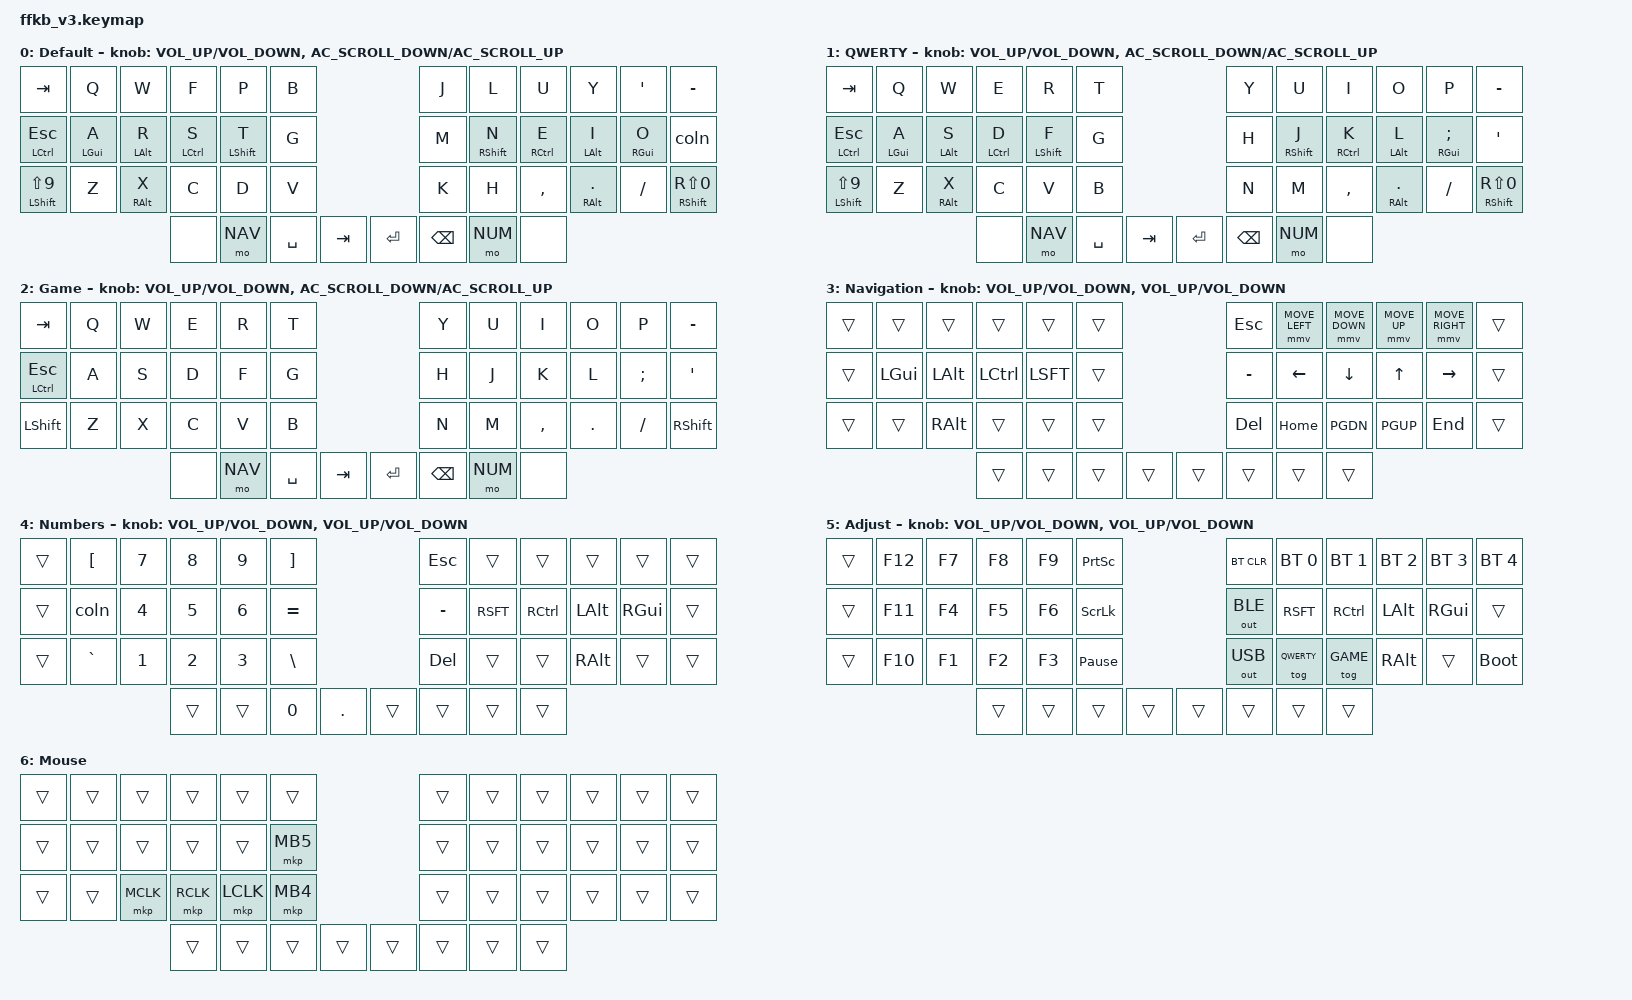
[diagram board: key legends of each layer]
#include <behaviors.dtsi>
#include <dt-bindings/zmk/keys.h>
#include <dt-bindings/zmk/rgb.h>
#include <dt-bindings/zmk/bt.h>
#include <dt-bindings/zmk/ext_power.h>
#include <dt-bindings/zmk/outputs.h>
#include <dt-bindings/zmk/pointing.h>

#define DEFAULT 0
#define QWERTY  1
#define GAME    2
#define NAV     3
#define NUM     4
#define ADJUST  5
#define MOUSE   6

#define LSPO &hm LSHFT LS(N9)
#define RSPC &hm RSHFT RS(N0)

&caps_word {
    continue-list = <UNDERSCORE MINUS BACKSPACE DELETE>;
};

/ {

    combos {
        compatible = "zmk,combos";
        combo_lbrc {
            timeout-ms = <50>;
            key-positions = <17 29>;
            bindings = <&kp LS(LBKT)>;
        };
        combo_rbrc {
            timeout-ms = <50>;
            key-positions = <18 30>;
            bindings = <&kp RS(RBKT)>;
        };
        combo_lbkt {
            timeout-ms = <50>;
            key-positions = <5 17>;
            bindings = <&kp LBKT>;
        };
        combo_rbkt {
            timeout-ms = <50>;
            key-positions = <6 18>;
            bindings = <&kp RBKT>;
        };
        combo_capsword {
            timeout-ms = <50>;
            key-positions = <17 18>;
            bindings = <&caps_word>;
        };
        combo_lpar {
            timeout-ms = <50>;
            key-positions = <16 17>;
            bindings = <&kp LS(N9)>;
        };
        combo_rpar {
            timeout-ms = <50>;
            key-positions = <18 19>;
            bindings = <&kp RS(N0)>;
        };
    };

    sensors {
        compatible = "zmk,keymap-sensors";
        sensors = <&encoder_1 &encoder_2>;
    };

    behaviors {
        hm: homerow_mods {
            compatible = "zmk,behavior-hold-tap";
            label = "HOMEROW_MODS";
            #binding-cells = <2>;
            tapping-term-ms = <200>;
            quick_tap_ms = <0>;
            flavor = "balanced";
            bindings = <&kp>, <&kp>;
        };
        hs: homerow_shift {
            compatible = "zmk,behavior-hold-tap";
            label = "HOMEROW_SHIFT";
            #binding-cells = <2>;
            tapping-term-ms = <175>;
            quick_tap_ms = <0>;
            flavor = "balanced";
            bindings = <&kp>, <&kp>;
        };
        coln: inverted_colon {
            compatible = "zmk,behavior-mod-morph";
            label = "COLON";
            #binding-cells = <0>;
            bindings = <&kp LS(SCLN)>, <&kp SCLN>;
            mods = <(MOD_LSFT|MOD_RSFT)>;
        };
    };

    conditional_layers {
        compatible = "zmk,conditional-layers";
        tri_layer {
            if-layers = <NAV NUM>;
            then-layer = <ADJUST>;
        };
    };

    keymap {
        compatible = "zmk,keymap";

        default_layer {
            label = "Default";

            sensor-bindings = <&inc_dec_kp C_VOLUME_UP C_VOLUME_DOWN &inc_dec_kp C_AC_SCROLL_DOWN C_AC_SCROLL_UP>;

            bindings = <
    &kp TAB       &kp Q        &kp W        &kp F       &kp P         &kp B                                       &kp J         &kp L        &kp U         &kp Y       &kp SQT     &kp MINUS
    &hm LCTL ESC  &hm LGUI A   &hm LALT R   &hm LCTL S  &hs LSHIFT T  &kp G                                       &kp M         &hs RSHIFT N &hm RCTL E    &hm LALT I  &hm RGUI O  &coln
    LSPO          &kp Z        &hm RALT X   &kp C       &kp D         &kp V                                       &kp K         &kp H        &kp COMMA     &hm RALT DOT &kp FSLH    RSPC
                                         &none       &mo NAV       &kp SPC  &kp TAB  &kp ENTER   &kp BSPC &mo NUM      &none
            >;
        };

        qwerty_layer {
            label = "QWERTY";

            sensor-bindings = <&inc_dec_kp C_VOLUME_UP C_VOLUME_DOWN &inc_dec_kp C_AC_SCROLL_DOWN C_AC_SCROLL_UP>;

            bindings = <
    &kp TAB       &kp Q        &kp W        &kp E       &kp R         &kp T                                       &kp Y         &kp U        &kp I         &kp O       &kp P       &kp MINUS
    &hm LCTL ESC  &hm LGUI A   &hm LALT S   &hm LCTL D  &hs LSHIFT F  &kp G                                       &kp H         &hs RSHIFT J &hm RCTL K    &hm LALT L  &hm RGUI SCLN &kp SQT
    LSPO          &kp Z        &hm RALT X   &kp C       &kp V         &kp B                                       &kp N         &kp M        &kp COMMA     &hm RALT DOT &kp FSLH    RSPC
                                         &none       &mo NAV       &kp SPC  &kp TAB  &kp ENTER   &kp BSPC &mo NUM      &none
            >;
        };

        game_layer {
            label = "Game";

            sensor-bindings = <&inc_dec_kp C_VOLUME_UP C_VOLUME_DOWN &inc_dec_kp C_AC_SCROLL_DOWN C_AC_SCROLL_UP>;

            bindings = <
    &kp TAB       &kp Q        &kp W        &kp E       &kp R         &kp T                                       &kp Y         &kp U        &kp I         &kp O       &kp P       &kp MINUS
    &hm LCTL ESC  &kp A        &kp S        &kp D       &kp F         &kp G                                       &kp H         &kp J        &kp K         &kp L       &kp SCLN    &kp SQT
    &kp LSHFT     &kp Z        &kp X        &kp C       &kp V         &kp B                                       &kp N         &kp M        &kp COMMA     &kp DOT     &kp FSLH    &kp RSHFT
                                         &none       &mo NAV       &kp SPC  &kp TAB  &kp ENTER   &kp BSPC &mo NUM      &none
            >;
        };

        nav_layer {
            label = "Navigation";
            
            sensor-bindings = <&inc_dec_kp C_VOLUME_UP C_VOLUME_DOWN &inc_dec_kp C_VOLUME_UP C_VOLUME_DOWN>;
            
            bindings = <
    &trans     &trans       &trans       &trans      &trans        &trans                                 &kp ESC       &mmv MOVE_LEFT &mmv MOVE_DOWN &mmv MOVE_UP &mmv MOVE_RIGHT &trans
    &trans     &kp LGUI     &kp LALT     &kp LCTL    &kp LSFT      &trans                                 &kp MINUS     &kp LEFT     &kp DOWN      &kp UP      &kp RIGHT   &trans
    &trans     &trans       &kp RALT     &trans      &trans        &trans                                 &kp DEL       &kp HOME     &kp PGDN      &kp PGUP    &kp END     &trans
                                         &trans      &trans        &trans       &trans        &trans      &trans        &trans       &trans
            >;
        };

        num_layer {
            label = "Numbers";
            
            sensor-bindings = <&inc_dec_kp C_VOLUME_UP C_VOLUME_DOWN &inc_dec_kp C_VOLUME_UP C_VOLUME_DOWN>;
            
            bindings = <
    &trans     &kp LBKT     &kp N7       &kp N8      &kp N9        &kp RBKT                                    &kp ESC       &trans       &trans        &trans      &trans      &trans
    &trans     &coln        &kp N4       &kp N5      &kp N6        &kp EQL                                     &kp MINUS     &kp RSFT     &kp RCTL      &kp LALT    &kp RGUI    &trans
    &trans     &kp GRAVE    &kp N1       &kp N2      &kp N3        &kp BSLH                                    &kp DEL       &trans       &trans        &kp RALT    &trans      &trans
                                         &trans      &trans        &kp N0       &kp DOT       &trans           &trans        &trans       &trans
            >;
        };

        adj_layer {
            label = "Adjust";
            
            sensor-bindings = <&inc_dec_kp C_VOLUME_UP C_VOLUME_DOWN &inc_dec_kp C_VOLUME_UP C_VOLUME_DOWN>;
            
            bindings = <
    &trans     &kp F12      &kp F7       &kp F8      &kp F9        &kp PSCRN                                   &bt BT_CLR    &bt BT_SEL 0 &bt BT_SEL 1  &bt BT_SEL 2 &bt BT_SEL 3 &bt BT_SEL 4
    &trans     &kp F11      &kp F4       &kp F5      &kp F6        &kp SLCK                                    &out OUT_BLE  &kp RSFT     &kp RCTL      &kp LALT    &kp RGUI    &trans
    &trans     &kp F10      &kp F1       &kp F2      &kp F3        &kp PAUSE_BREAK                             &out OUT_USB  &tog QWERTY  &tog GAME     &kp RALT    &trans      &bootloader
                                         &trans      &trans        &trans       &trans        &trans           &trans        &trans       &trans
            >;
        };

        mouse_layer {
            label = "Mouse";
            bindings = <
    &trans     &trans       &trans       &trans      &trans        &trans                                      &trans        &trans       &trans        &trans      &trans      &trans
    &trans     &trans       &trans       &trans      &trans        &mkp MB5                                    &trans        &trans       &trans        &trans      &trans      &trans
    &trans     &trans       &mkp MCLK    &mkp RCLK   &mkp LCLK     &mkp MB4                                    &trans        &trans       &trans        &trans      &trans      &trans
                                         &trans      &trans        &trans       &trans        &trans           &trans        &trans       &trans
            >;
        };
    };
};
            /*
            bindings = <
    &trans     &trans       &trans       &trans      &trans        &trans                                      &trans        &trans       &trans        &trans      &trans      &trans
    &trans     &trans       &trans       &trans      &trans        &trans                                      &trans        &trans       &trans        &trans      &trans      &trans
    &trans     &trans       &trans       &trans      &trans        &trans                                      &trans        &trans       &trans        &trans      &trans      &trans
                                         &trans      &trans        &trans       &trans        &trans           &trans        &trans       &trans
            >;
            */
